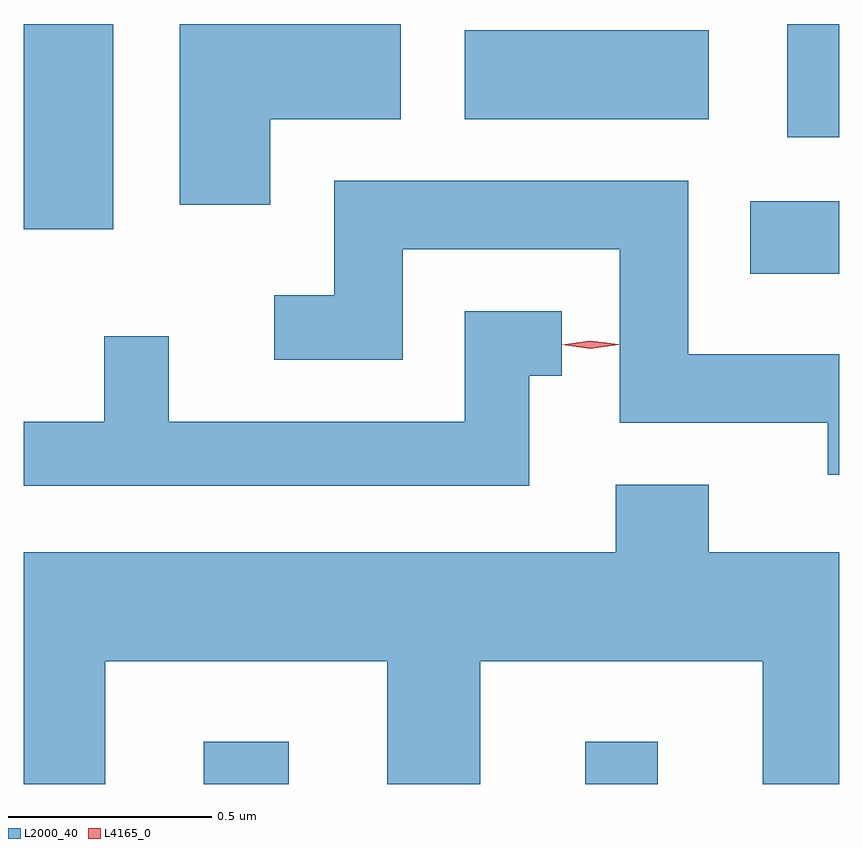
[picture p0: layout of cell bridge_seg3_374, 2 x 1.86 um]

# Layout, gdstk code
import gdstk
lib = gdstk.Library(unit=1e-6, precision=1e-09)
def R(c, l, rs):  # rectangles x0, y0, x1, y1
    for r in rs: c.add(gdstk.rectangle(r[:2], r[2:], *l))
def P(c, l, *ps):  # polygons
    for p in ps: c.add(gdstk.Polygon(p, *l))
L2000_40 = (2000, 40)
L4165_0 = (4165, 0)

bridge_seg3_374 = lib.new_cell('bridge_seg3_374')
R(bridge_seg3_374, L2000_40, [(679.391,1221.175,679.599,1221.279), (680.326,1221.175,680.504,1221.279), (680.731,1222.426,680.949,1222.604), (678.949,1222.536,679.169,1223.039), (680.821,1222.761,680.949,1223.039), (680.031,1222.806,680.629,1223.024)])
P(bridge_seg3_374, L2000_40, [(679.554,1222.806),(679.874,1222.806),(679.874,1223.039),(679.331,1223.039),(679.331,1222.596),(679.554,1222.596)],
  [(680.949,1222.229),(680.579,1222.229),(680.579,1222.654),(679.711,1222.654),(679.711,1222.374),(679.563,1222.374),(679.563,1222.216),(679.879,1222.216),(679.879,1222.486),(680.411,1222.486),(680.411,1222.061),(680.921,1222.061),(680.921,1221.933),(680.949,1221.933)],
  [(680.189,1222.176),(680.268,1222.176),(680.268,1222.334),(680.031,1222.334),(680.031,1222.064),(679.304,1222.064),(679.304,1222.273),(679.146,1222.273),(679.146,1222.064),(678.949,1222.064),(678.949,1221.906),(680.189,1221.906)],
  [(679.149,1221.476),(679.841,1221.476),(679.841,1221.175),(680.069,1221.175),(680.069,1221.476),(680.761,1221.476),(680.761,1221.175),(680.949,1221.175),(680.949,1221.744),(680.629,1221.744),(680.629,1221.909),(680.401,1221.909),(680.401,1221.744),(678.949,1221.744),(678.949,1221.175),(679.149,1221.175)])
P(bridge_seg3_374, L4165_0, [(680.338,1222.242),(680.269,1222.252),(680.269,1222.252),(680.269,1222.252),(680.338,1222.262),(680.408,1222.253),(680.408,1222.253),(680.408,1222.252)])

lib.write_gds('bridge_seg3_374.gds')
